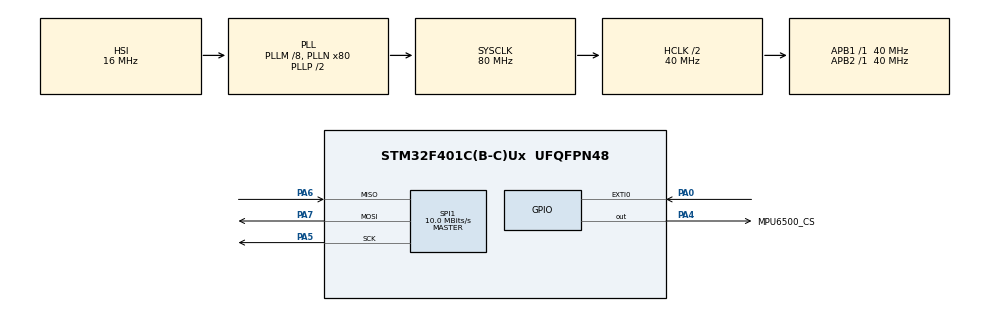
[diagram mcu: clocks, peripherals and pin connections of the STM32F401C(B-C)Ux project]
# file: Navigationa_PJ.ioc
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Mcu.Family=STM32F4
Mcu.Name=STM32F401C(B-C)Ux
Mcu.Package=UFQFPN48
NVIC.EXTI0_IRQn=true\:0\:0\:false\:false\:true\:true\:true\:true
NVIC.PriorityGroup=NVIC_PRIORITYGROUP_4
NVIC.SPI1_IRQn=true\:0\:0\:false\:false\:true\:true\:true\:true
PA0-WKUP.Signal=GPXTI0
PA13.Mode=Serial_Wire
PA13.Signal=SYS_JTMS-SWDIO
PA14.Mode=Serial_Wire
PA14.Signal=SYS_JTCK-SWCLK
PA4.GPIO_Label=MPU6500_CS
PA4.PinState=GPIO_PIN_SET
PA4.Signal=GPIO_Output
PA5.Mode=Full_Duplex_Master
PA5.Signal=SPI1_SCK
PA6.Mode=Full_Duplex_Master
PA6.Signal=SPI1_MISO
PA7.Mode=Full_Duplex_Master
PA7.Signal=SPI1_MOSI
PH0\ -\ OSC_IN.Mode=HSE-External-Oscillator
PH0\ -\ OSC_IN.Signal=RCC_OSC_IN
PH1\ -\ OSC_OUT.Mode=HSE-External-Oscillator
PH1\ -\ OSC_OUT.Signal=RCC_OSC_OUT
ProjectManager.HeapSize=0x200
ProjectManager.StackSize=0x400
ProjectManager.TargetToolchain=STM32CubeIDE
RCC.48MHZClocksFreq_Value=40000000
RCC.AHBCLKDivider=RCC_SYSCLK_DIV2
RCC.AHBFreq_Value=40000000
RCC.APB1Freq_Value=40000000
RCC.APB1TimFreq_Value=40000000
RCC.APB2Freq_Value=40000000
RCC.APB2TimFreq_Value=40000000
RCC.CortexFreq_Value=40000000
RCC.HCLKFreq_Value=40000000
RCC.HSE_VALUE=25000000
RCC.HSI_VALUE=16000000
RCC.LSE_VALUE=32768
RCC.PLLM=8
RCC.PLLN=80
RCC.SYSCLKFreq_VALUE=80000000
RCC.SYSCLKSource=RCC_SYSCLKSOURCE_PLLCLK
RCC.VCOOutputFreq_Value=160000000
SPI1.BaudRatePrescaler=SPI_BAUDRATEPRESCALER_4
SPI1.CalculateBaudRate=10.0 MBits/s
SPI1.Direction=SPI_DIRECTION_2LINES
SPI1.Mode=SPI_MODE_MASTER
SPI1.VirtualType=VM_MASTER
board=custom

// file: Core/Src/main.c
/* USER CODE BEGIN Header */
/**
  ******************************************************************************
  * @file           : main.c
  * @brief          : Main program body
  ******************************************************************************
  * @attention
  *
  * Copyright (c) 2025 STMicroelectronics.
  * All rights reserved.
  *
  * This software is licensed under terms that can be found in the LICENSE file
  * in the root directory of this software component.
  * If no LICENSE file comes with this software, it is provided AS-IS.
  *
  ******************************************************************************
  */
/* USER CODE END Header */
#include "main.h"

/* USER CODE BEGIN Includes */
#include "driver_mpu9250_dmp.h" // DMP header (includes base driver)
/* USER CODE END Includes */

SPI_HandleTypeDef hspi1;

/* USER CODE BEGIN PV */
/* Volatile variables for Live Expressions debugging (no prints) */
volatile uint8_t g_irq_type = 0;           /* IRQ type (e.g., MPU9250_INTERRUPT_DMP) */
volatile uint8_t g_tap_count = 0;          /* Tap count */
volatile uint8_t g_tap_direction = 0;      /* Tap direction (e.g., MPU9250_DMP_TAP_X_UP) */
volatile uint8_t g_orient_orientation = 0; /* Orientation (e.g., MPU9250_DMP_ORIENT_PORTRAIT) */
volatile uint32_t g_pedometer_cnt = 0;     /* Pedometer step count */
volatile uint16_t g_fifo_len = 0;          /* FIFO length from last read */
volatile float g_last_pitch = 0.0f;        /* Last pitch (for quick view) */
volatile float g_last_roll = 0.0f;         /* Last roll */
volatile float g_last_yaw = 0.0f;          /* Last yaw */
volatile uint8_t g_dmp_init_status = 0;    /* 0: failed, 1: ok */

/* DMP data buffers (as in your snippet) */
static int16_t gs_accel_raw[128][3];
static float gs_accel_g[128][3];
static int16_t gs_gyro_raw[128][3];
static float gs_gyro_dps[128][3];
static int32_t gs_quat[128][4];
static float gs_pitch[128];
static float gs_roll[128];
static float gs_yaw[128];
/* USER CODE END PV */

void SystemClock_Config(void);
static void MX_GPIO_Init(void);
static void MX_SPI1_Init(void);
/* USER CODE BEGIN PFP */
uint8_t (*g_gpio_irq)(void) = NULL; // GPIO IRQ handler pointer (for INT pin)

static void a_receive_callback(uint8_t type) // Callback for general interrupts (updates volatile instead of print)
{
    g_irq_type = type;  // View in CubeIDE Expressions
    // No print; per history
}

static void a_dmp_tap_callback(uint8_t count, uint8_t direction) // Callback for DMP tap (updates volatiles)
{
    g_tap_count = count;
    g_tap_direction = direction;
    // No print
}

static void a_dmp_orient_callback(uint8_t orientation) // Callback for DMP orientation (updates volatile)
{
    g_orient_orientation = orientation;
    // No print
}

static uint8_t gpio_interrupt_init(void) //GPIO interrupt init for MPU9250 INT pin (adjust PA0 to your INT pin)
{
    return 0;  // Success (assuming MX_GPIO_Init setup is correct)
}

static uint8_t gpio_interrupt_deinit(void) //GPIO interrupt deinit
{
    /* Disable EXTI IRQ for the INT pin */
    HAL_NVIC_DisableIRQ(EXTI0_IRQn); // Assuming PA0 is EXTI0

    /* Deinit the INT pin */
    HAL_GPIO_DeInit(GPIOA, GPIO_PIN_0); // Assuming PA0 is the INT pin

    return 0;
}
/* USER CODE END PFP */

int main(void)
{

  /* USER CODE BEGIN 1 */
	  uint32_t i;
	  uint32_t times = 3;        // Number of samples to read
	  uint32_t pedo_count;       // Pedometer count
	  uint16_t fifo_len;         // Length of data read from FIFO
	  uint8_t res;               // Function return status
	  mpu9250_address_t dev_addr = MPU9250_ADDRESS_AD0_LOW; // Use AD0_LOW or AD0_HIGH
  /* USER CODE END 1 */

  /* MCU Configuration--------------------------------------------------------*/

  /* Reset of all peripherals, Initializes the Flash interface and the Systick. */
  HAL_Init();

  /* Configure the system clock */
  SystemClock_Config();

  /* Initialize all configured peripherals */
  MX_GPIO_Init();
  MX_SPI1_Init();
  /* USER CODE BEGIN 2 */

  if (gpio_interrupt_init() != 0) // Initialize GPIO interrupt for MPU9250 INT pin
  {
    // Handle initialization error
    Error_Handler();
  }

  g_gpio_irq = mpu9250_dmp_irq_handler; // Set the global IRQ handler pointer

  /* Initialize MPU9250 DMP with SPI interface */
  res = mpu9250_dmp_init(MPU9250_INTERFACE_SPI, dev_addr, a_receive_callback,
                         a_dmp_tap_callback, a_dmp_orient_callback);
  if (res != 0)
  {
    // Handle initialization error
    g_dmp_init_status = 0;
    (void)gpio_interrupt_deinit(); // Clean up GPIO
    g_gpio_irq = NULL;
    Error_Handler();
  }
  else
  {
    g_dmp_init_status = 1;
  }

  mpu9250_interface_delay_ms(500); // Allow some time for the sensor to stabilize

  /* USER CODE END 2 */

  /* Infinite loop */
  while (1)
  {

    /* USER CODE BEGIN 3 */
	  if (g_dmp_init_status == 1) // Proceed only if initialization was successful
	     {
	         /* Read DMP data multiple times */
	         for (i = 0; i < times; i++)
	         {
	             fifo_len = 128; // Max FIFO length to read

	             /* Read all available DMP data (accel, gyro, quaternion, pitch, roll, yaw) */
	             res = mpu9250_dmp_read_all(gs_accel_raw, gs_accel_g,
	                                        gs_gyro_raw, gs_gyro_dps,
	                                        gs_quat,
	                                        gs_pitch, gs_roll, gs_yaw,
	                                        &fifo_len);

	             if (res != 0)
	             {
	                 // Handle read error
	                 (void)mpu9250_dmp_deinit();
	                 (void)gpio_interrupt_deinit();
	                 g_gpio_irq = NULL;
	                 g_dmp_init_status = 0;
	                 Error_Handler();
	                 break; // Exit the inner loop on error
	             }

	             /* Update volatile variables with the latest data for debugging */
	             g_fifo_len = fifo_len;
	             if (fifo_len > 0) // If data was read
	             {
	                 g_last_pitch = gs_pitch[0]; // Store first sample's pitch
	                 g_last_roll = gs_roll[0];   // Store first sample's roll
	                 g_last_yaw = gs_yaw[0];     // Store first sample's yaw
	                 // You can add more volatiles here to monitor other data points
	             }

	             /* Get the pedometer step count */
	             res = mpu9250_dmp_get_pedometer_counter(&pedo_count);
	             if (res != 0)
	             {
	                 // Handle pedometer read error
	                 (void)mpu9250_dmp_deinit();
	                 (void)gpio_interrupt_deinit();
	                 g_gpio_irq = NULL;
	                 g_dmp_init_status = 0;
	                 Error_Handler();
	                 break; // Exit the inner loop on error
	             }
	             g_pedometer_cnt = pedo_count; // Update pedometer count volatile

	             /* Delay before the next read cycle */
	             mpu9250_interface_delay_ms(500);
	         }
	     }
	    if (g_dmp_init_status == 0) // If an error occurred, stop further processing
	    {
	        // Turn on an LED or enter a low-power state if desired.
	        while(1); // Halt execution after error
	    }
  }
  /* USER CODE END 3 */
}

void SystemClock_Config(void)
{
  RCC_OscInitTypeDef RCC_OscInitStruct = {0};
  RCC_ClkInitTypeDef RCC_ClkInitStruct = {0};

  /** Configure the main internal regulator output voltage
  */
  __HAL_RCC_PWR_CLK_ENABLE();
  __HAL_PWR_VOLTAGESCALING_CONFIG(PWR_REGULATOR_VOLTAGE_SCALE2);

  /** Initializes the RCC Oscillators according to the specified parameters
  * in the RCC_OscInitTypeDef structure.
  */
  RCC_OscInitStruct.OscillatorType = RCC_OSCILLATORTYPE_HSI;
  RCC_OscInitStruct.HSIState = RCC_HSI_ON;
  RCC_OscInitStruct.HSICalibrationValue = RCC_HSICALIBRATION_DEFAULT;
  RCC_OscInitStruct.PLL.PLLState = RCC_PLL_ON;
  RCC_OscInitStruct.PLL.PLLSource = RCC_PLLSOURCE_HSI;
  RCC_OscInitStruct.PLL.PLLM = 8;
  RCC_OscInitStruct.PLL.PLLN = 80;
  RCC_OscInitStruct.PLL.PLLP = RCC_PLLP_DIV2;
  RCC_OscInitStruct.PLL.PLLQ = 4;
  if (HAL_RCC_OscConfig(&RCC_OscInitStruct) != HAL_OK)
  {
    Error_Handler();
  }

  /** Initializes the CPU, AHB and APB buses clocks
  */
  RCC_ClkInitStruct.ClockType = RCC_CLOCKTYPE_HCLK|RCC_CLOCKTYPE_SYSCLK
                              |RCC_CLOCKTYPE_PCLK1|RCC_CLOCKTYPE_PCLK2;
  RCC_ClkInitStruct.SYSCLKSource = RCC_SYSCLKSOURCE_PLLCLK;
  RCC_ClkInitStruct.AHBCLKDivider = RCC_SYSCLK_DIV2;
  RCC_ClkInitStruct.APB1CLKDivider = RCC_HCLK_DIV1;
  RCC_ClkInitStruct.APB2CLKDivider = RCC_HCLK_DIV1;

  if (HAL_RCC_ClockConfig(&RCC_ClkInitStruct, FLASH_LATENCY_1) != HAL_OK)
  {
    Error_Handler();
  }
}

static void MX_SPI1_Init(void)
{

  /* SPI1 parameter configuration*/
  hspi1.Instance = SPI1;
  hspi1.Init.Mode = SPI_MODE_MASTER;
  hspi1.Init.Direction = SPI_DIRECTION_2LINES;
  hspi1.Init.DataSize = SPI_DATASIZE_8BIT;
  hspi1.Init.CLKPolarity = SPI_POLARITY_LOW;
  hspi1.Init.CLKPhase = SPI_PHASE_1EDGE;
  hspi1.Init.NSS = SPI_NSS_SOFT;
  hspi1.Init.BaudRatePrescaler = SPI_BAUDRATEPRESCALER_4;
  hspi1.Init.FirstBit = SPI_FIRSTBIT_MSB;
  hspi1.Init.TIMode = SPI_TIMODE_DISABLE;
  hspi1.Init.CRCCalculation = SPI_CRCCALCULATION_DISABLE;
  hspi1.Init.CRCPolynomial = 10;
  if (HAL_SPI_Init(&hspi1) != HAL_OK)
  {
    Error_Handler();
  }

}

static void MX_GPIO_Init(void)
{
  GPIO_InitTypeDef GPIO_InitStruct = {0};

  /* GPIO Ports Clock Enable */
  __HAL_RCC_GPIOH_CLK_ENABLE();
  __HAL_RCC_GPIOA_CLK_ENABLE();

  /*Configure GPIO pin Output Level */
  HAL_GPIO_WritePin(MPU6500_CS_GPIO_Port, MPU6500_CS_Pin, GPIO_PIN_SET);

  /*Configure GPIO pin : PA0 */
  GPIO_InitStruct.Pin = GPIO_PIN_0;
  GPIO_InitStruct.Mode = GPIO_MODE_IT_RISING;
  GPIO_InitStruct.Pull = GPIO_NOPULL;
  HAL_GPIO_Init(GPIOA, &GPIO_InitStruct);

  /*Configure GPIO pin : MPU6500_CS_Pin */
  GPIO_InitStruct.Pin = MPU6500_CS_Pin;
  GPIO_InitStruct.Mode = GPIO_MODE_OUTPUT_PP;
  GPIO_InitStruct.Pull = GPIO_NOPULL;
  GPIO_InitStruct.Speed = GPIO_SPEED_FREQ_LOW;
  HAL_GPIO_Init(MPU6500_CS_GPIO_Port, &GPIO_InitStruct);

  /* EXTI interrupt init*/
  HAL_NVIC_SetPriority(EXTI0_IRQn, 0, 0);
  HAL_NVIC_EnableIRQ(EXTI0_IRQn);

}

/* USER CODE BEGIN 4 */
void HAL_GPIO_EXTI_Callback(uint16_t GPIO_Pin)
{
  /* USER CODE BEGIN callback */
  if (GPIO_Pin == GPIO_PIN_0) // Check if the interrupt is from MPU9250 INT pin (PA0)
  {
    if (g_gpio_irq != NULL)
    {
      // Call the MPU9250 DMP IRQ handler provided by the driver
      g_gpio_irq(); // This will trigger the registered callbacks (a_receive_callback, etc.)
    }
  }
  /* USER CODE END callback */
}
/* USER CODE END 4 */

void Error_Handler(void)
{
  __disable_irq();
  while (1)
  {
  }
}
